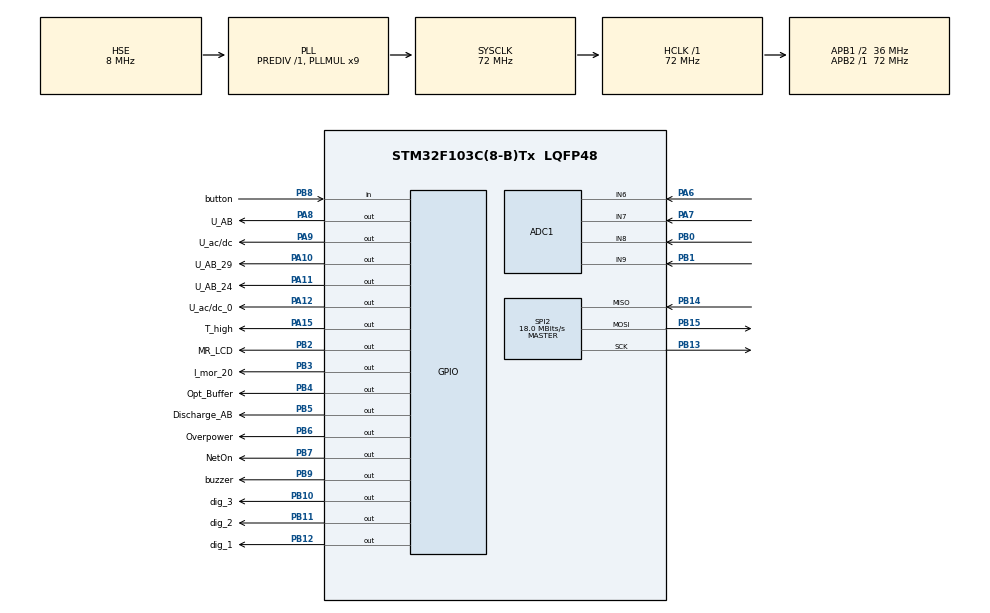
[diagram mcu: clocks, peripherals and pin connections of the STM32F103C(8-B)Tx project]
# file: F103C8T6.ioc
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ADC1.Channel-10\#ChannelRegularConversion=ADC_CHANNEL_8
ADC1.Channel-11\#ChannelRegularConversion=ADC_CHANNEL_9
ADC1.Channel-8\#ChannelRegularConversion=ADC_CHANNEL_6
ADC1.Channel-9\#ChannelRegularConversion=ADC_CHANNEL_7
ADC1.ContinuousConvMode=DISABLE
ADC1.ExternalTrigConv=ADC_EXTERNALTRIGCONV_T4_CC4
ADC1.NbrOfConversion=4
ADC1.NbrOfConversionFlag=1
ADC1.Rank-10\#ChannelRegularConversion=3
ADC1.Rank-11\#ChannelRegularConversion=4
ADC1.Rank-8\#ChannelRegularConversion=1
ADC1.Rank-9\#ChannelRegularConversion=2
ADC1.SamplingTime-10\#ChannelRegularConversion=ADC_SAMPLETIME_13CYCLES_5
ADC1.SamplingTime-11\#ChannelRegularConversion=ADC_SAMPLETIME_13CYCLES_5
ADC1.SamplingTime-8\#ChannelRegularConversion=ADC_SAMPLETIME_13CYCLES_5
ADC1.SamplingTime-9\#ChannelRegularConversion=ADC_SAMPLETIME_13CYCLES_5
ADC1.master=1
Dma.ADC1.0.Direction=DMA_PERIPH_TO_MEMORY
Dma.ADC1.0.Instance=DMA1_Channel1
Dma.ADC1.0.MemDataAlignment=DMA_MDATAALIGN_HALFWORD
Dma.ADC1.0.MemInc=DMA_MINC_ENABLE
Dma.ADC1.0.Mode=DMA_CIRCULAR
Dma.ADC1.0.PeriphDataAlignment=DMA_PDATAALIGN_HALFWORD
Dma.ADC1.0.PeriphInc=DMA_PINC_DISABLE
Dma.ADC1.0.Priority=DMA_PRIORITY_LOW
Dma.Request0=ADC1
Mcu.Family=STM32F1
Mcu.Name=STM32F103C(8-B)Tx
Mcu.Package=LQFP48
NVIC.DMA1_Channel1_IRQn=true\:0\:0\:false\:false\:true\:false\:true
NVIC.PriorityGroup=NVIC_PRIORITYGROUP_4
NVIC.TIM1_UP_IRQn=true\:0\:0\:false\:false\:true\:true\:true
PA10.GPIO_Label=U_AB_29
PA10.Signal=GPIO_Output
PA11.GPIO_Label=U_AB_24
PA11.Signal=GPIO_Output
PA12.GPIO_Label=U_ac/dc_0
PA12.Signal=GPIO_Output
PA13.Mode=Serial_Wire
PA13.Signal=SYS_JTMS-SWDIO
PA14.Mode=Serial_Wire
PA14.Signal=SYS_JTCK-SWCLK
PA15.GPIO_Label=T_high
PA15.Signal=GPIO_Output
PA6.Signal=ADCx_IN6
PA7.Signal=ADCx_IN7
PA8.GPIO_Label=U_AB
PA8.Signal=GPIO_Output
PA9.GPIO_Label=U_ac/dc
PA9.Signal=GPIO_Output
PB0.Signal=ADCx_IN8
PB1.Signal=ADCx_IN9
PB10.GPIO_Label=dig_3
PB10.Signal=GPIO_Output
PB11.GPIO_Label=dig_2
PB11.Signal=GPIO_Output
PB12.GPIO_Label=dig_1
PB12.Signal=GPIO_Output
PB13.Mode=Full_Duplex_Master
PB13.Signal=SPI2_SCK
PB14.Mode=Full_Duplex_Master
PB14.Signal=SPI2_MISO
PB15.Mode=Full_Duplex_Master
PB15.Signal=SPI2_MOSI
PB2.GPIO_Label=MR_LCD
PB2.Signal=GPIO_Output
PB3.GPIO_Label=I_mor_20
PB3.Signal=GPIO_Output
PB4.GPIO_Label=Opt_Buffer
PB4.Signal=GPIO_Output
PB5.GPIO_Label=Discharge_AB
PB5.Signal=GPIO_Output
PB6.GPIO_Label=Overpower
PB6.Signal=GPIO_Output
PB7.GPIO_Label=NetOn
PB7.Signal=GPIO_Output
PB8.GPIO_Label=button
PB8.Signal=GPIO_Input
PB9.GPIO_Label=buzzer
PB9.Signal=GPIO_Output
PD0-OSC_IN.Mode=HSE-External-Oscillator
PD0-OSC_IN.Signal=RCC_OSC_IN
PD1-OSC_OUT.Mode=HSE-External-Oscillator
PD1-OSC_OUT.Signal=RCC_OSC_OUT
ProjectManager.HeapSize=0x200
ProjectManager.StackSize=0x400
ProjectManager.TargetToolchain=STM32CubeIDE
RCC.ADCPresc=RCC_ADCPCLK2_DIV6
RCC.AHBFreq_Value=72000000
RCC.APB1CLKDivider=RCC_HCLK_DIV2
RCC.APB1Freq_Value=36000000
RCC.APB1TimFreq_Value=72000000
RCC.APB2Freq_Value=72000000
RCC.APB2TimFreq_Value=72000000
RCC.HCLKFreq_Value=72000000
RCC.PLLMUL=RCC_PLL_MUL9
RCC.PLLSourceVirtual=RCC_PLLSOURCE_HSE
RCC.SYSCLKFreq_VALUE=72000000
RCC.SYSCLKSource=RCC_SYSCLKSOURCE_PLLCLK
RCC.USBFreq_Value=72000000
SH.ADCx_IN6.0=ADC1_IN6,IN6
SH.ADCx_IN7.0=ADC1_IN7,IN7
SH.ADCx_IN8.0=ADC1_IN8,IN8
SH.ADCx_IN9.0=ADC1_IN9,IN9
SPI2.BaudRatePrescaler=SPI_BAUDRATEPRESCALER_2
SPI2.CLKPhase=SPI_PHASE_1EDGE
SPI2.CLKPolarity=SPI_POLARITY_LOW
SPI2.CalculateBaudRate=18.0 MBits/s
SPI2.Direction=SPI_DIRECTION_2LINES
SPI2.Mode=SPI_MODE_MASTER
SPI2.VirtualType=VM_MASTER
TIM1.Period=50000
TIM1.Prescaler=719
TIM4.Channel-Output\ Compare4\ No\ Output=TIM_CHANNEL_4
TIM4.OCMode_4=TIM_OCMODE_TOGGLE
TIM4.Period=10000
TIM4.Prescaler=720
VP_TIM1_VS_ClockSourceINT.Mode=Internal
VP_TIM4_VS_no_output4.Mode=Output Compare4 No Output
board=custom

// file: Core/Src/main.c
/* USER CODE BEGIN Header */
/**
  ******************************************************************************
  * @file           : main.c
  * @brief          : Main program body
  ******************************************************************************
  * @attention
  *
  * <h2><center>&copy; Copyright (c) 2020 STMicroelectronics.
  * All rights reserved.</center></h2>
  *
  * This software component is licensed by ST under BSD 3-Clause license,
  * the "License"; You may not use this file except in compliance with the
  * License. You may obtain a copy of the License at:
  *                        opensource.org/licenses/BSD-3-Clause
  *
  ******************************************************************************
  */
/* USER CODE END Header */
#include "main.h"

/* USER CODE BEGIN Includes */
#include "lcd.h"
#include "test.h"
#include "measurements.h"
#include "state_machine.h"
/* USER CODE END Includes */

ADC_HandleTypeDef hadc1;
DMA_HandleTypeDef hdma_adc1;

SPI_HandleTypeDef hspi2;

TIM_HandleTypeDef htim1;
TIM_HandleTypeDef htim4;

/* USER CODE BEGIN PV */
uint16_t adc_1[4] = {0, };

//uint16_t adc_U_ac_dc[FILTR_NUM] = {0, };
//uint16_t adc_U_AB[FILTR_NUM] = {0, };
//uint16_t adc_I_shunt[FILTR_NUM] = {0, };
//uint16_t adc_temp[FILTR_NUM] = {0, };

//uint16_t adc_1[6] = {0, };

uint32_t U_ac_dc;
uint32_t U_AB;
uint32_t I_shunt;
uint32_t temperature;

uint32_t filtr_U_ac_dc;
uint32_t filtr_U_AB;
uint32_t filtr_I_shunt;
uint32_t filtr_temperature;

short int fl;

uint32_t val;
uint32_t change;

int main_counter;

extern int counter_steps;
/* USER CODE END PV */

void SystemClock_Config(void);
static void MX_GPIO_Init(void);
static void MX_DMA_Init(void);
static void MX_ADC1_Init(void);
static void MX_SPI2_Init(void);
static void MX_TIM1_Init(void);
static void MX_TIM4_Init(void);

/* USER CODE BEGIN 0 */

void HAL_ADC_ConvCpltCallback(ADC_HandleTypeDef* hadc)
{
	if(fl == 0)
	{
		fl = 1;
	}
}

/* USER CODE END 0 */

int main(void)
{

  /* MCU Configuration--------------------------------------------------------*/

  /* Reset of all peripherals, Initializes the Flash interface and the Systick. */
  HAL_Init();

  /* Configure the system clock */
  SystemClock_Config();

  /* Initialize all configured peripherals */
  MX_GPIO_Init();
  MX_DMA_Init();
  MX_ADC1_Init();
  MX_SPI2_Init();
  MX_TIM1_Init();
  MX_TIM4_Init();
  /* USER CODE BEGIN 2 */

  HAL_ADCEx_Calibration_Start(&hadc1);
  HAL_ADC_Start_DMA(&hadc1, (uint32_t*)&adc_1, 4);
  HAL_TIM_OC_Start(&htim4, TIM_CHANNEL_4);

  U_AB = 0;
  U_ac_dc = 0;
  temperature = 0;

  HAL_TIM_Base_Start_IT(&htim1);
  HAL_GPIO_WritePin(GPIOB, MR_LCD_Pin, GPIO_PIN_SET);

  HAL_GPIO_WritePin(U_AB_GPIO_Port, U_AB_Pin, GPIO_PIN_RESET);
  HAL_GPIO_WritePin(U_ac_dc_GPIO_Port, U_ac_dc_Pin, GPIO_PIN_SET);

  int test_btn = 0;

  val = 0;

  counter_steps = 0;
  fl = 0;

  init_filtr();

  /* USER CODE END 2 */

  /* Infinite loop */
  /* USER CODE BEGIN WHILE */
  while (1)
  {
	  switch(getState())
	  {
	  case WORK_IBP:
		  if((filtr_U_ac_dc == U_0) | (filtr_U_AB > U_29) | (filtr_U_AB < U_24) | (filtr_I_shunt > I_20) | (filtr_temperature > TEMP_55_ADC))
			  setState(ERROR_IBP);
		  break;
	  case ERROR_IBP:
		  if((filtr_U_ac_dc == U_0) | (filtr_U_AB > U_29) | (filtr_U_AB < U_24) | (filtr_I_shunt > I_20) | (filtr_temperature > TEMP_55_ADC))
		  {
//			HAL_GPIO_WritePin(buzzer_GPIO_Port, buzzer_Pin, GPIO_PIN_SET);
			if(filtr_U_ac_dc == U_0)
			{
				HAL_GPIO_WritePin(U_ac_dc_0_GPIO_Port, U_ac_dc_0_Pin, GPIO_PIN_SET);
			}
			else
			{
				HAL_GPIO_WritePin(U_ac_dc_0_GPIO_Port, U_ac_dc_0_Pin, GPIO_PIN_RESET);
			}

			if(filtr_U_AB > U_29)
			{
				HAL_GPIO_WritePin(U_AB_29_GPIO_Port, U_AB_29_Pin, GPIO_PIN_SET);
			}
			else
			{
				HAL_GPIO_WritePin(U_AB_29_GPIO_Port, U_AB_29_Pin, GPIO_PIN_RESET);
			}

			if(filtr_U_AB < U_24)
			{
				HAL_GPIO_WritePin(U_AB_24_GPIO_Port, U_AB_24_Pin, GPIO_PIN_SET);
			}
			else
			{
				HAL_GPIO_WritePin(U_AB_24_GPIO_Port, U_AB_24_Pin, GPIO_PIN_RESET);
			}

			if(filtr_I_shunt > I_20)
			{
				HAL_GPIO_WritePin(I_mor_20_GPIO_Port, I_mor_20_Pin, GPIO_PIN_SET);
			}
			else
			{
				HAL_GPIO_WritePin(I_mor_20_GPIO_Port, I_mor_20_Pin, GPIO_PIN_RESET);
			}

			if(filtr_temperature > TEMP_55_ADC)
			{
				HAL_GPIO_WritePin(T_high_GPIO_Port, T_high_Pin, GPIO_PIN_SET);
			}
			else
			{
				HAL_GPIO_WritePin(T_high_GPIO_Port, T_high_Pin, GPIO_PIN_RESET);
			}
		  }
		  else
		  {
//			HAL_GPIO_WritePin(buzzer_GPIO_Port, buzzer_Pin, GPIO_PIN_RESET);

			  HAL_GPIO_WritePin(U_AB_29_GPIO_Port, U_AB_29_Pin, GPIO_PIN_RESET);
			HAL_GPIO_WritePin(U_AB_24_GPIO_Port, U_AB_24_Pin, GPIO_PIN_RESET);
			HAL_GPIO_WritePin(U_ac_dc_0_GPIO_Port, U_ac_dc_0_Pin, GPIO_PIN_RESET);
			HAL_GPIO_WritePin(T_high_GPIO_Port, T_high_Pin, GPIO_PIN_RESET);
			HAL_GPIO_WritePin(I_mor_20_GPIO_Port, I_mor_20_Pin, GPIO_PIN_RESET);

			setState(WORK_IBP);
		  }
		  break;
	  }
    /* USER CODE END WHILE */

    /* USER CODE BEGIN 3 */

	  //Как только приняли данные по ДМА от АЦП, сразу отфильтруем их и пересчитаем значения
	  if(fl == 1)
	  {
		  mean_vals();
		  measure_data();
		  fl = 0;
	  }

	  //Чтение нажатия кнопки
	  //Если кнопка нажата, то зажигаем все светодиоды и сигналку
	  if(!HAL_GPIO_ReadPin(button_GPIO_Port, button_Pin))
	  {
		  test_btn = 1;

		  all_leds_on();
		  all_segments_on();

		  HAL_GPIO_WritePin(buzzer_GPIO_Port, buzzer_Pin, GPIO_PIN_SET);
	  }
	  else
	  {
		  if(test_btn == 1)
		  {
			  test_btn = 0;

			  all_leds_off();
			  all_segments_off();

			  if(val == 1 )
			  {
				  HAL_GPIO_WritePin(U_AB_GPIO_Port, U_AB_Pin, GPIO_PIN_SET);
				  HAL_Delay(1);
				  HAL_GPIO_WritePin(U_ac_dc_GPIO_Port, U_ac_dc_Pin, GPIO_PIN_RESET);
			  }
			  else
			  {
				  HAL_GPIO_WritePin(U_AB_GPIO_Port, U_AB_Pin, GPIO_PIN_RESET);
				  HAL_Delay(1);
				  HAL_GPIO_WritePin(U_ac_dc_GPIO_Port, U_ac_dc_Pin, GPIO_PIN_SET);
			  }
			  HAL_GPIO_WritePin(buzzer_GPIO_Port, buzzer_Pin, GPIO_PIN_RESET);
		  }
		  if(main_counter % 2  == 0)
		  {
//	  			  measure_data();
		  }
		  if(main_counter % 10  == 0)
		  {
			  change = 1;
			  val = val ^ 1;
			  if(val == 1 )
			  {
				  HAL_GPIO_WritePin(U_AB_GPIO_Port, U_AB_Pin, GPIO_PIN_SET);
  //				  HAL_Delay(1);
				  HAL_GPIO_WritePin(U_ac_dc_GPIO_Port, U_ac_dc_Pin, GPIO_PIN_RESET);
			  }
			  else
			  {
				  HAL_GPIO_WritePin(U_AB_GPIO_Port, U_AB_Pin, GPIO_PIN_RESET);
  //				  HAL_Delay(1);
				  HAL_GPIO_WritePin(U_ac_dc_GPIO_Port, U_ac_dc_Pin, GPIO_PIN_SET);
			  }
		  }
		  update_lcd();
	  }
	  //***************************************************************

  }
  /* USER CODE END 3 */
}

void SystemClock_Config(void)
{
  RCC_OscInitTypeDef RCC_OscInitStruct = {0};
  RCC_ClkInitTypeDef RCC_ClkInitStruct = {0};
  RCC_PeriphCLKInitTypeDef PeriphClkInit = {0};

  /** Initializes the RCC Oscillators according to the specified parameters
  * in the RCC_OscInitTypeDef structure.
  */
  RCC_OscInitStruct.OscillatorType = RCC_OSCILLATORTYPE_HSE;
  RCC_OscInitStruct.HSEState = RCC_HSE_ON;
  RCC_OscInitStruct.HSEPredivValue = RCC_HSE_PREDIV_DIV1;
  RCC_OscInitStruct.HSIState = RCC_HSI_ON;
  RCC_OscInitStruct.PLL.PLLState = RCC_PLL_ON;
  RCC_OscInitStruct.PLL.PLLSource = RCC_PLLSOURCE_HSE;
  RCC_OscInitStruct.PLL.PLLMUL = RCC_PLL_MUL9;
  if (HAL_RCC_OscConfig(&RCC_OscInitStruct) != HAL_OK)
  {
    Error_Handler();
  }
  /** Initializes the CPU, AHB and APB buses clocks
  */
  RCC_ClkInitStruct.ClockType = RCC_CLOCKTYPE_HCLK|RCC_CLOCKTYPE_SYSCLK
                              |RCC_CLOCKTYPE_PCLK1|RCC_CLOCKTYPE_PCLK2;
  RCC_ClkInitStruct.SYSCLKSource = RCC_SYSCLKSOURCE_PLLCLK;
  RCC_ClkInitStruct.AHBCLKDivider = RCC_SYSCLK_DIV1;
  RCC_ClkInitStruct.APB1CLKDivider = RCC_HCLK_DIV2;
  RCC_ClkInitStruct.APB2CLKDivider = RCC_HCLK_DIV1;

  if (HAL_RCC_ClockConfig(&RCC_ClkInitStruct, FLASH_LATENCY_2) != HAL_OK)
  {
    Error_Handler();
  }
  PeriphClkInit.PeriphClockSelection = RCC_PERIPHCLK_ADC;
  PeriphClkInit.AdcClockSelection = RCC_ADCPCLK2_DIV6;
  if (HAL_RCCEx_PeriphCLKConfig(&PeriphClkInit) != HAL_OK)
  {
    Error_Handler();
  }
}

static void MX_ADC1_Init(void)
{

  ADC_ChannelConfTypeDef sConfig = {0};

  /** Common config
  */
  hadc1.Instance = ADC1;
  hadc1.Init.ScanConvMode = ADC_SCAN_ENABLE;
  hadc1.Init.ContinuousConvMode = DISABLE;
  hadc1.Init.DiscontinuousConvMode = DISABLE;
  hadc1.Init.ExternalTrigConv = ADC_EXTERNALTRIGCONV_T4_CC4;
  hadc1.Init.DataAlign = ADC_DATAALIGN_RIGHT;
  hadc1.Init.NbrOfConversion = 4;
  if (HAL_ADC_Init(&hadc1) != HAL_OK)
  {
    Error_Handler();
  }
  /** Configure Regular Channel
  */
  sConfig.Channel = ADC_CHANNEL_6;
  sConfig.Rank = ADC_REGULAR_RANK_1;
  sConfig.SamplingTime = ADC_SAMPLETIME_13CYCLES_5;
  if (HAL_ADC_ConfigChannel(&hadc1, &sConfig) != HAL_OK)
  {
    Error_Handler();
  }
  /** Configure Regular Channel
  */
  sConfig.Channel = ADC_CHANNEL_7;
  sConfig.Rank = ADC_REGULAR_RANK_2;
  if (HAL_ADC_ConfigChannel(&hadc1, &sConfig) != HAL_OK)
  {
    Error_Handler();
  }
  /** Configure Regular Channel
  */
  sConfig.Channel = ADC_CHANNEL_8;
  sConfig.Rank = ADC_REGULAR_RANK_3;
  if (HAL_ADC_ConfigChannel(&hadc1, &sConfig) != HAL_OK)
  {
    Error_Handler();
  }
  /** Configure Regular Channel
  */
  sConfig.Channel = ADC_CHANNEL_9;
  sConfig.Rank = ADC_REGULAR_RANK_4;
  if (HAL_ADC_ConfigChannel(&hadc1, &sConfig) != HAL_OK)
  {
    Error_Handler();
  }

}

static void MX_SPI2_Init(void)
{

  /* SPI2 parameter configuration*/
  hspi2.Instance = SPI2;
  hspi2.Init.Mode = SPI_MODE_MASTER;
  hspi2.Init.Direction = SPI_DIRECTION_2LINES;
  hspi2.Init.DataSize = SPI_DATASIZE_8BIT;
  hspi2.Init.CLKPolarity = SPI_POLARITY_LOW;
  hspi2.Init.CLKPhase = SPI_PHASE_1EDGE;
  hspi2.Init.NSS = SPI_NSS_SOFT;
  hspi2.Init.BaudRatePrescaler = SPI_BAUDRATEPRESCALER_2;
  hspi2.Init.FirstBit = SPI_FIRSTBIT_MSB;
  hspi2.Init.TIMode = SPI_TIMODE_DISABLE;
  hspi2.Init.CRCCalculation = SPI_CRCCALCULATION_DISABLE;
  hspi2.Init.CRCPolynomial = 10;
  if (HAL_SPI_Init(&hspi2) != HAL_OK)
  {
    Error_Handler();
  }

}

static void MX_TIM1_Init(void)
{

  TIM_ClockConfigTypeDef sClockSourceConfig = {0};
  TIM_MasterConfigTypeDef sMasterConfig = {0};

  htim1.Instance = TIM1;
  htim1.Init.Prescaler = 719;
  htim1.Init.CounterMode = TIM_COUNTERMODE_UP;
  htim1.Init.Period = 50000;
  htim1.Init.ClockDivision = TIM_CLOCKDIVISION_DIV1;
  htim1.Init.RepetitionCounter = 0;
  htim1.Init.AutoReloadPreload = TIM_AUTORELOAD_PRELOAD_DISABLE;
  if (HAL_TIM_Base_Init(&htim1) != HAL_OK)
  {
    Error_Handler();
  }
  sClockSourceConfig.ClockSource = TIM_CLOCKSOURCE_INTERNAL;
  if (HAL_TIM_ConfigClockSource(&htim1, &sClockSourceConfig) != HAL_OK)
  {
    Error_Handler();
  }
  sMasterConfig.MasterOutputTrigger = TIM_TRGO_RESET;
  sMasterConfig.MasterSlaveMode = TIM_MASTERSLAVEMODE_DISABLE;
  if (HAL_TIMEx_MasterConfigSynchronization(&htim1, &sMasterConfig) != HAL_OK)
  {
    Error_Handler();
  }

}

static void MX_TIM4_Init(void)
{

  TIM_MasterConfigTypeDef sMasterConfig = {0};
  TIM_OC_InitTypeDef sConfigOC = {0};

  htim4.Instance = TIM4;
  htim4.Init.Prescaler = 720;
  htim4.Init.CounterMode = TIM_COUNTERMODE_UP;
  htim4.Init.Period = 10000;
  htim4.Init.ClockDivision = TIM_CLOCKDIVISION_DIV1;
  htim4.Init.AutoReloadPreload = TIM_AUTORELOAD_PRELOAD_DISABLE;
  if (HAL_TIM_OC_Init(&htim4) != HAL_OK)
  {
    Error_Handler();
  }
  sMasterConfig.MasterOutputTrigger = TIM_TRGO_RESET;
  sMasterConfig.MasterSlaveMode = TIM_MASTERSLAVEMODE_DISABLE;
  if (HAL_TIMEx_MasterConfigSynchronization(&htim4, &sMasterConfig) != HAL_OK)
  {
    Error_Handler();
  }
  sConfigOC.OCMode = TIM_OCMODE_TOGGLE;
  sConfigOC.Pulse = 0;
  sConfigOC.OCPolarity = TIM_OCPOLARITY_HIGH;
  sConfigOC.OCFastMode = TIM_OCFAST_DISABLE;
  if (HAL_TIM_OC_ConfigChannel(&htim4, &sConfigOC, TIM_CHANNEL_4) != HAL_OK)
  {
    Error_Handler();
  }

}

static void MX_DMA_Init(void)
{

  /* DMA controller clock enable */
  __HAL_RCC_DMA1_CLK_ENABLE();

  /* DMA interrupt init */
  /* DMA1_Channel1_IRQn interrupt configuration */
  HAL_NVIC_SetPriority(DMA1_Channel1_IRQn, 0, 0);
  HAL_NVIC_EnableIRQ(DMA1_Channel1_IRQn);

}

static void MX_GPIO_Init(void)
{
  GPIO_InitTypeDef GPIO_InitStruct = {0};

  /* GPIO Ports Clock Enable */
  __HAL_RCC_GPIOD_CLK_ENABLE();
  __HAL_RCC_GPIOA_CLK_ENABLE();
  __HAL_RCC_GPIOB_CLK_ENABLE();

  /*Configure GPIO pin Output Level */
  HAL_GPIO_WritePin(GPIOB, MR_LCD_Pin|dig_3_Pin|dig_2_Pin|dig_1_Pin
                          |I_mor_20_Pin|Opt_Buffer_Pin|Discharge_AB_Pin|Overpower_Pin
                          |NetOn_Pin|buzzer_Pin, GPIO_PIN_RESET);

  /*Configure GPIO pin Output Level */
  HAL_GPIO_WritePin(GPIOA, U_AB_Pin|U_ac_dc_Pin|U_AB_29_Pin|U_AB_24_Pin
                          |U_ac_dc_0_Pin|T_high_Pin, GPIO_PIN_RESET);

  /*Configure GPIO pins : MR_LCD_Pin dig_3_Pin dig_2_Pin dig_1_Pin
                           I_mor_20_Pin Opt_Buffer_Pin Discharge_AB_Pin Overpower_Pin
                           NetOn_Pin buzzer_Pin */
  GPIO_InitStruct.Pin = MR_LCD_Pin|dig_3_Pin|dig_2_Pin|dig_1_Pin
                          |I_mor_20_Pin|Opt_Buffer_Pin|Discharge_AB_Pin|Overpower_Pin
                          |NetOn_Pin|buzzer_Pin;
  GPIO_InitStruct.Mode = GPIO_MODE_OUTPUT_PP;
  GPIO_InitStruct.Pull = GPIO_NOPULL;
  GPIO_InitStruct.Speed = GPIO_SPEED_FREQ_LOW;
  HAL_GPIO_Init(GPIOB, &GPIO_InitStruct);

  /*Configure GPIO pins : U_AB_Pin U_ac_dc_Pin U_AB_29_Pin U_AB_24_Pin
                           U_ac_dc_0_Pin T_high_Pin */
  GPIO_InitStruct.Pin = U_AB_Pin|U_ac_dc_Pin|U_AB_29_Pin|U_AB_24_Pin
                          |U_ac_dc_0_Pin|T_high_Pin;
  GPIO_InitStruct.Mode = GPIO_MODE_OUTPUT_PP;
  GPIO_InitStruct.Pull = GPIO_NOPULL;
  GPIO_InitStruct.Speed = GPIO_SPEED_FREQ_LOW;
  HAL_GPIO_Init(GPIOA, &GPIO_InitStruct);

  /*Configure GPIO pin : button_Pin */
  GPIO_InitStruct.Pin = button_Pin;
  GPIO_InitStruct.Mode = GPIO_MODE_INPUT;
  GPIO_InitStruct.Pull = GPIO_NOPULL;
  HAL_GPIO_Init(button_GPIO_Port, &GPIO_InitStruct);

}

void Error_Handler(void)
{
}

/************************ (C) COPYRIGHT STMicroelectronics *****END OF FILE****/
